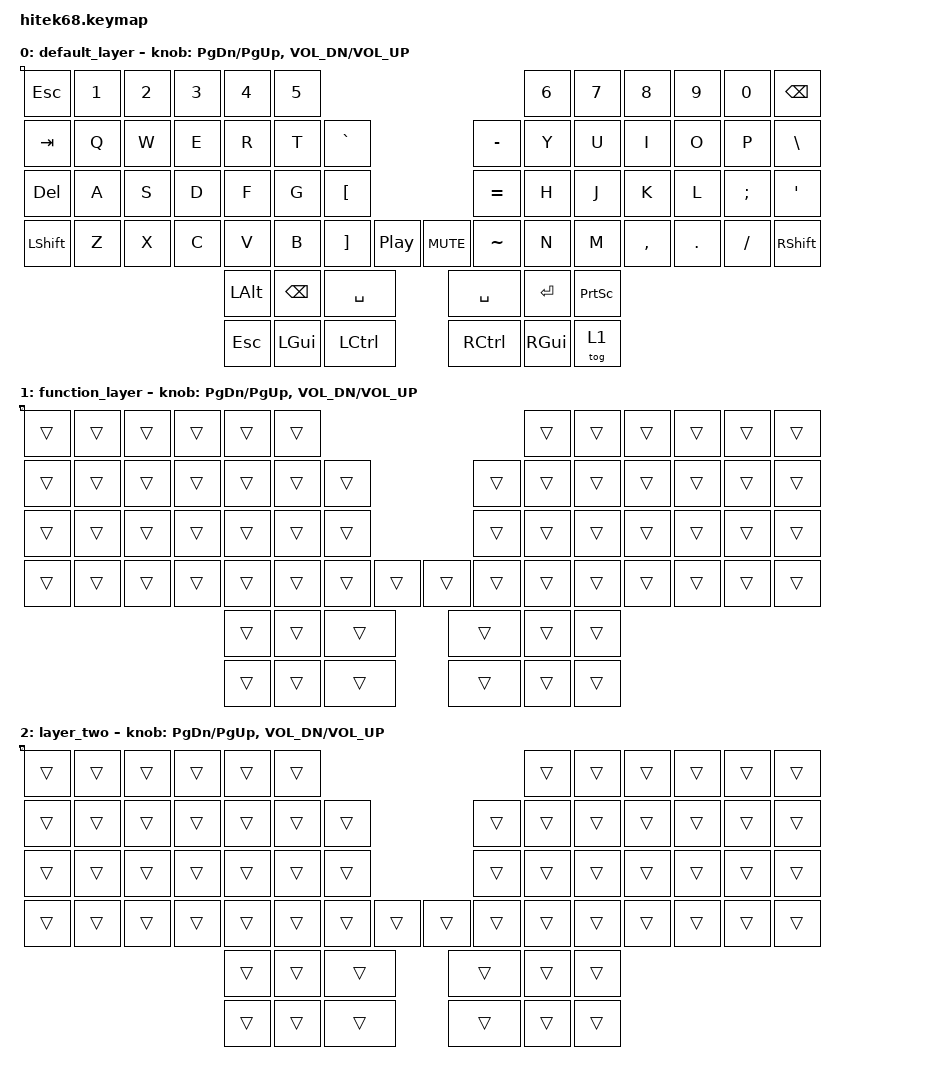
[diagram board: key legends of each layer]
#include <behaviors.dtsi>
#include <dt-bindings/zmk/keys.h>

/ {
    keymap {
        compatible = "zmk,keymap";

        /*
         * 96 positions: 0-47 = left half, 48-95 = right half.
         * The right half is a mirrored PCB, so its rows below are listed
         * inner-to-outer (COL6 .. COL0), matching the physical key order.
         *
         * Position 31 / 79 = encoder push switch (matrix ROW3/COL7).
         * Encoder push (ROW3/COL7): left = play/pause, right = mute.
         */
        default_layer {
            bindings = <
                /* LEFT (0-47) */
                &kp ESC   &kp N1 &kp N2 &kp N3 &kp N4 &kp N5 &none &none
                &kp TAB   &kp Q  &kp W  &kp E  &kp R  &kp T  &kp GRAVE &none
                &kp DEL   &kp A  &kp S  &kp D  &kp F  &kp G  &kp LBKT  &none
                &kp LSHIFT &kp Z &kp X  &kp C  &kp V  &kp B  &kp RBKT  &kp C_PP
                &none &none &none &none &kp LALT &kp BSPC &kp SPACE &none
                &none &none &none &none &kp ESC  &kp LGUI &kp LCTRL &none
                /* RIGHT (48-95) */
                &kp BSPC &kp N0 &kp N9 &kp N8 &kp N7 &kp N6 &none &none
                &kp BSLH &kp P  &kp O  &kp I  &kp U  &kp Y  &kp MINUS &none
                &kp SQT  &kp SEMI &kp L &kp K &kp J  &kp H  &kp EQUAL &none
                &kp RSHIFT &kp FSLH &kp DOT &kp COMMA &kp M &kp N &kp TILDE &kp C_MUTE
                &none &none &none &none &kp PSCRN &kp ENTER &kp SPACE &none
                &none &none &none &none &tog 1 &kp RGUI &kp RCTRL &none
            >;
            /* sensor 0 = left encoder, sensor 1 = right encoder */
            sensor-bindings = <&inc_dec_kp PG_DN PG_UP &inc_dec_kp C_VOL_DN C_VOL_UP>;
        };

        function_layer {
            bindings = <
                &trans &trans &trans &trans &trans &trans &trans &trans
                &trans &trans &trans &trans &trans &trans &trans &trans
                &trans &trans &trans &trans &trans &trans &trans &trans
                &trans &trans &trans &trans &trans &trans &trans &trans
                &trans &trans &trans &trans &trans &trans &trans &trans
                &trans &trans &trans &trans &trans &trans &trans &trans
                &trans &trans &trans &trans &trans &trans &trans &trans
                &trans &trans &trans &trans &trans &trans &trans &trans
                &trans &trans &trans &trans &trans &trans &trans &trans
                &trans &trans &trans &trans &trans &trans &trans &trans
                &trans &trans &trans &trans &trans &trans &trans &trans
                &trans &trans &trans &trans &trans &trans &trans &trans
            >;
            sensor-bindings = <&inc_dec_kp PG_DN PG_UP &inc_dec_kp C_VOL_DN C_VOL_UP>;
        };

        layer_two {
            bindings = <
                &trans &trans &trans &trans &trans &trans &trans &trans
                &trans &trans &trans &trans &trans &trans &trans &trans
                &trans &trans &trans &trans &trans &trans &trans &trans
                &trans &trans &trans &trans &trans &trans &trans &trans
                &trans &trans &trans &trans &trans &trans &trans &trans
                &trans &trans &trans &trans &trans &trans &trans &trans
                &trans &trans &trans &trans &trans &trans &trans &trans
                &trans &trans &trans &trans &trans &trans &trans &trans
                &trans &trans &trans &trans &trans &trans &trans &trans
                &trans &trans &trans &trans &trans &trans &trans &trans
                &trans &trans &trans &trans &trans &trans &trans &trans
                &trans &trans &trans &trans &trans &trans &trans &trans
            >;
            sensor-bindings = <&inc_dec_kp PG_DN PG_UP &inc_dec_kp C_VOL_DN C_VOL_UP>;
        };
    };
};
